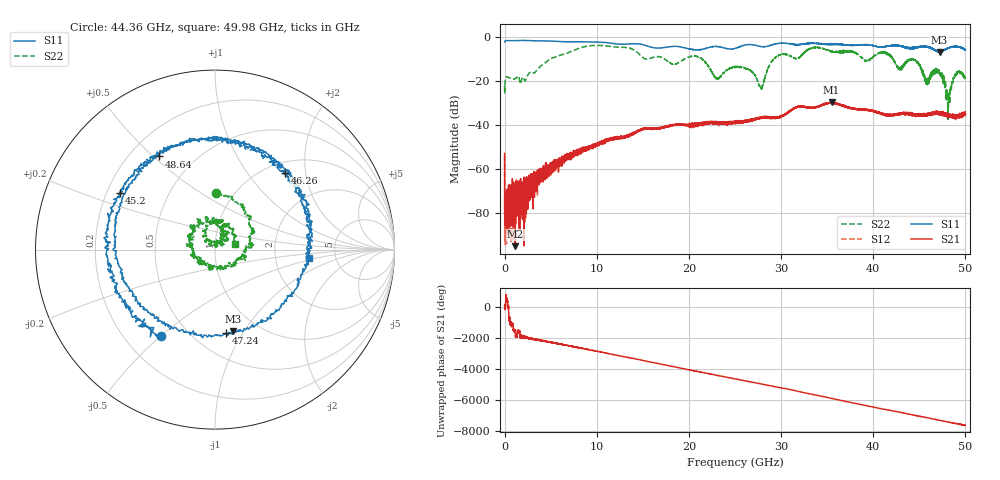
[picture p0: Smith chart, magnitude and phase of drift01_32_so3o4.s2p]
!Created with skrf (http://scikit-rf.org).
# Hz S RI R 50.0
!freq ReS11 ImS11 ReS21 ImS21 ReS12 ImS12 ReS22 ImS22
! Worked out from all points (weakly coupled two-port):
!   10001 points, 300 kHz to 50 GHz, reference 50 ohm
!   highest |S21| = -29.64 dB at 35.48 GHz (marker M1); lowest = -95.3 dB at 1.16 GHz (marker M2)
!   lowest |S11| = -6.7 dB at 47.2 GHz (marker M3), VSWR 2.74, Z = 38.8 - j44.8 ohm
!   |S11| at or under -10 dB: nowhere
!   |S22| runs from -37.4 to -3.6 dB; largest |S21 - S12| = 0.0046
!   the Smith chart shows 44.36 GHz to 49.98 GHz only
!   S11 on the Smith chart (normalised r, x): 44.36 GHz: 0.35, -0.50; 45.2 GHz: 0.25, +0.26; 46.26 GHz: 1.20, +1.54; 47.24 GHz: 0.71, -0.85; 48.64 GHz: 0.32, +0.52; 49.98 GHz: 3.14, -0.38
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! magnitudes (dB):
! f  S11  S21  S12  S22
! 300 kHz  -2.1  -52.9  -53.8  -22.0
! 255.3 MHz  -1.4  -80.0  -76.1  -18.0
! 1.16 GHz  -1.4  -95.3  -68.3  -18.8
! 8.335 GHz  -1.9  -51.2  -51.2  -4.6
! 16.67 GHz  -4.8  -41.5  -41.5  -8.7
! 20.96 GHz  -5.6  -40.0  -39.9  -8.8
! 23.08 GHz  -4.1  -38.8  -39.2  -18.8
! 25 GHz  -5.0  -38.9  -38.7  -13.6
! 27.84 GHz  -4.1  -36.6  -36.5  -23.0
! 29.47 GHz  -2.9  -36.8  -36.8  -8.7
! 33.34 GHz  -2.6  -32.2  -32.1  -4.7
! 35.48 GHz  -3.2  -29.6  -29.8  -6.5
! 41.67 GHz  -3.9  -35.8  -35.3  -7.6
! 44.36 GHz  -5.0  -35.0  -35.0  -10.0
! 45.2 GHz  -4.2  -35.5  -35.6  -14.0
! 46.26 GHz  -4.8  -34.5  -34.8  -17.7
! 47.2 GHz  -6.7  -33.9  -34.3  -15.7
! 47.24 GHz  -6.5  -35.0  -35.0  -16.9
! 48.12 GHz  -4.9  -35.8  -35.6  -33.0
! 48.64 GHz  -4.3  -36.9  -36.1  -20.5
! 49.98 GHz  -5.6  -33.9  -34.8  -18.7
! 50 GHz  -5.6  -35.3  -34.5  -18.3
